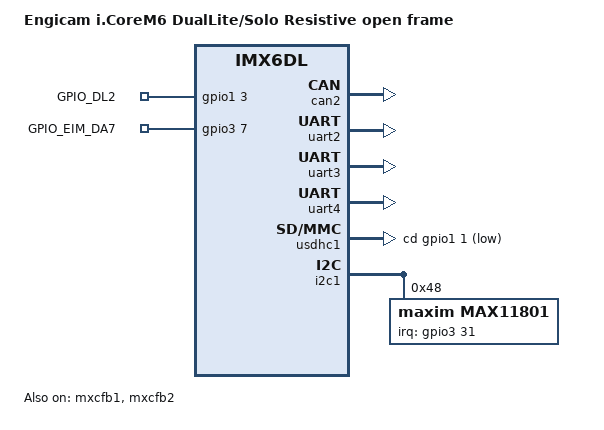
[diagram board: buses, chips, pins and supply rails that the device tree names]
/*
 * Copyright (C) 2013 Freescale Semiconductor, Inc.
 *
 * This program is free software; you can redistribute it and/or modify
 * it under the terms of the GNU General Public License version 2 as
 * published by the Free Software Foundation.
 */

/dts-v1/;

#include "imx6dl.dtsi"
#include "imx6qdl-icore.dtsi"

/ {
	model = "Engicam i.CoreM6 DualLite/Solo Resistive open frame";
	compatible = "fsl,imx6-icore", "fsl,imx6dl";

	gpio_export {
		compatible = "gpio-export";
		#size-cells = <0>;
		GPIO_DL2 {
		        gpio-export,name = "GPIO_DL2";
			gpio-export,output = <1>;
                        gpio-export,direction_may_change;
		        gpios = <&gpio1 3 0>;
		};
		
		GPIO_EIM_DA7 {
			gpio-export,name = "GPIO_EIM_DA7";
			gpio-export,input = <1>;
			gpios = <&gpio3 7 0>;
		};				
	};

	codec: codec {
		status = "disabled";
	};
};

&ldb {
	ipu_id = <0>;
	sec_ipu_id = <0>;
};

&mxcfb1 {
	status = "okay";
};

&mxcfb2 {
	status = "okay";
};

&can2 {
	status = "okay"; 
};

&uart2 {
	status = "okay";
};

&uart3 {
	status = "okay";
};

&uart4 {
	status = "okay";
};

&usdhc1 {
	cd-gpios = <&gpio1 1 GPIO_ACTIVE_LOW>;
	status = "okay";
};


&i2c1 {
	max11801@48 {
		compatible = "maxim,max11801";
		reg = <0x48>;
		interrupt-parent = <&gpio3>;
		interrupts = <31 2>;
		work-mode = <0>;/*DCM mode*/		
		pinctrl-names = "default";		
		pinctrl-0 = <&pinctrl_max11801>;
	};
};

&iomuxc {
	touchpanel{
	  pinctrl_max11801:max11801 {
			fsl,pins = <
			    MX6QDL_PAD_EIM_D31__GPIO3_IO31 0x80000000 /* int for max11801 */
			>;	    
	  };
	};
	
	hog {
		pinctrl_hog: hoggrp {
			fsl,pins = <
				MX6QDL_PAD_GPIO_3__GPIO1_IO03  0x1f059 /* LED DL2*/
				MX6QDL_PAD_EIM_DA7__GPIO3_IO07 0x1f059 /* EIM_DA07 forced to GPIO in */
				MX6QDL_PAD_GPIO_1__GPIO1_IO01  0x1f059 /*CD SD CARD*/
			>;
		};
	};
};
